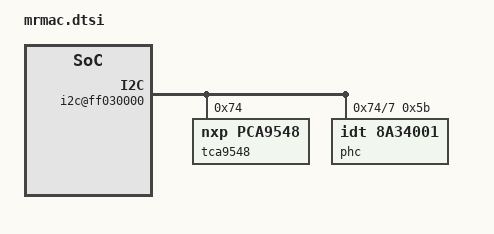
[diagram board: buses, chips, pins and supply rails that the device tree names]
/include/ "system-conf.dtsi"
/ {
	chosen {
		stdout-path = "serial0:115200";
	};

	amba_pl@0 {
		ptp_1588_timer_syncer@80000000 {
			compatible = "xlnx,timer-syncer-1588-2.0\0xlnx,timer-syncer-1588-3.0";
		};
		ptp_1588_timer_syncer@80010000 {
			compatible = "xlnx,timer-syncer-1588-2.0\0xlnx,timer-syncer-1588-3.0";
		};
		ptp_1588_timer_syncer@80020000 {
			compatible = "xlnx,timer-syncer-1588-2.0\0xlnx,timer-syncer-1588-3.0";
		};
		ptp_1588_timer_syncer@80030000 {
			compatible = "xlnx,timer-syncer-1588-2.0\0xlnx,timer-syncer-1588-3.0";
		};

		axi_mcdma@a4020000 {
			compatible = "xlnx,axi-mcdma-1.1";
			xlnx,include-dre;
			xlnx,addrwidth = <0x20>;
			dma-channel@a4020000 {
				compatible = "xlnx,axi-dma-mm2s-channel";
				dma-channels = <0x1>;
				interrupt-parent = <&gic>;
				interrupts = <0 84 4>;
				xlnx,datawidth = <0x40>;
				xlnx,device-id = <0x0>;
				xlnx,include-dre ;
			};
			dma-channel@a4020030 {
				compatible = "xlnx,axi-dma-s2mm-channel";
				dma-channels = <0x1>;
				interrupt-parent = <&gic>;
				interrupts = <0 85 4>;
				xlnx,datawidth = <0x40>;
				xlnx,device-id = <0x0>;
				xlnx,include-dre ;
			};
		};
		axi_mcdma@a4030000 {
			compatible = "xlnx,axi-mcdma-1.1";
			xlnx,include-dre;
			xlnx,addrwidth = <0x20>;
			dma-channel@a4030000 {
				compatible = "xlnx,axi-dma-mm2s-channel";
				dma-channels = <0x1>;
				interrupt-parent = <&gic>;
				interrupts = <0 86 4>;
				xlnx,datawidth = <0x40>;
				xlnx,device-id = <0x1>;
				xlnx,include-dre ;
			};
			dma-channel@a4030030 {
				compatible = "xlnx,axi-dma-s2mm-channel";
				dma-channels = <0x1>;
				interrupt-parent = <&gic>;
				interrupts = <0 87 4>;
				xlnx,datawidth = <0x40>;
				xlnx,device-id = <0x1>;
				xlnx,include-dre ;
			};
		};
		axi_mcdma@a4040000 {
			compatible = "xlnx,axi-mcdma-1.1";
			xlnx,include-dre;
			xlnx,addrwidth = <0x20>;
			dma-channel@a4040000 {
				compatible = "xlnx,axi-dma-mm2s-channel";
				dma-channels = <0x1>;
				interrupt-parent = <&gic>;
				interrupts = <0 88 4>;
				xlnx,datawidth = <0x40>;
				xlnx,device-id = <0x2>;
				xlnx,include-dre ;
			};
			dma-channel@a4040030 {
				compatible = "xlnx,axi-dma-s2mm-channel";
				dma-channels = <0x1>;
				interrupt-parent = <&gic>;
				interrupts = <0 89 4>;
				xlnx,datawidth = <0x40>;
				xlnx,device-id = <0x2>;
				xlnx,include-dre ;
			};
		};
		axi_mcdma@a4050000 {
			compatible = "xlnx,axi-mcdma-1.1";
			xlnx,include-dre;
			xlnx,addrwidth = <0x20>;
			dma-channel@a4050000 {
				compatible = "xlnx,axi-dma-mm2s-channel";
				dma-channels = <0x1>;
				interrupt-parent = <&gic>;
				interrupts = <0 90 4>;
				xlnx,datawidth = <0x40>;
				xlnx,device-id = <0x3>;
				xlnx,include-dre ;
			};
			dma-channel@a4050030 {
				compatible = "xlnx,axi-dma-s2mm-channel";
				dma-channels = <0x1>;
				interrupt-parent = <&gic>;
				interrupts = <0 91 4>;
				xlnx,datawidth = <0x40>;
				xlnx,device-id = <0x3>;
				xlnx,include-dre ;
			};
		};

		gt_pll: gt_pll@a40a0000 {
			reg = <0x0 0xa40a0000 0x0 0x10000>;
		};

		gt_ctrl_common: gt_ctrl_common@a4060000 {
			reg = <0x0 0xa4060000 0x0 0x40000>;
		};

		axi_mux: axi_mux@a40b0000 {
                        reg = <0x0 0xa40b0000 0x0 0x10000>;
                };


		mrmac@a4010000 {
			axistream-connected = <&DATAPATH_MCDMA_HIER_DATAPATH_MCDMA_0_axi_mcdma_0>;
			interrupt-names = "mm2s_ch1_introut", "s2mm_ch1_introut";
                        interrupt-parent = <&gic>;
                        interrupts = <0 84 4 0 85 4>;
			local-mac-address = [00 0a 35 00 00 00];
			xlnx,channel-ids = "1";
			xlnx,num-queues = /bits/ 16 <0x1>;
			xlnx,addrwidth = <0x20>;		
			xlnx,mrmac-rate = <25000>;
			xlnx,gtpll = <&gt_pll>;
			xlnx,gtctrl = <&gt_ctrl_common>;
			xlnx,axi_mux = <&axi_mux>;
			ptp-hardware-clock = <&MRMAC_1588_HELPER_HIER_SYS_TIMER_0_ptp_1588_timer_syncer_0>;
		};

		mrmac@a4011000 {
			axistream-connected = <&DATAPATH_MCDMA_HIER_DATAPATH_MCDMA_1_axi_mcdma_0>;
			interrupt-names = "mm2s_ch1_introut", "s2mm_ch1_introut";
                        interrupt-parent = <&gic>;
                        interrupts = <0 86 4 0 87 4>;
			local-mac-address = [00 0a 35 00 00 01];
			xlnx,channel-ids = "1";
			xlnx,num-queues = /bits/ 16 <0x1>;
			xlnx,addrwidth = <0x20>;			
			xlnx,mrmac-rate = <25000>;
			xlnx,gtpll = <&gt_pll>;
			xlnx,gtctrl = <&gt_ctrl_common>;
			xlnx,axi_mux = <&axi_mux>;
			ptp-hardware-clock = <&MRMAC_1588_HELPER_HIER_SYS_TIMER_1_ptp_1588_timer_syncer_0>;
		};

		mrmac@a4012000 {
			axistream-connected = <&DATAPATH_MCDMA_HIER_DATAPATH_MCDMA_2_axi_mcdma_0>;
			 interrupt-names = "mm2s_ch1_introut", "s2mm_ch1_introut";
                        interrupt-parent = <&gic>;
                        interrupts = <0 88 4 0 89 4>;
			local-mac-address = [00 0a 35 00 00 02];
			xlnx,channel-ids = "1";
			xlnx,num-queues = /bits/ 16 <0x1>;
			xlnx,addrwidth = <0x20>;
			xlnx,mrmac-rate = <25000>;
			xlnx,gtpll = <&gt_pll>;
			xlnx,gtctrl = <&gt_ctrl_common>;
			xlnx,axi_mux = <&axi_mux>;
			ptp-hardware-clock = <&MRMAC_1588_HELPER_HIER_SYS_TIMER_2_ptp_1588_timer_syncer_0>;
		};

		mrmac@a4013000 {
			axistream-connected = <&DATAPATH_MCDMA_HIER_DATAPATH_MCDMA_3_axi_mcdma_0>;
			interrupt-names = "mm2s_ch1_introut", "s2mm_ch1_introut";
                        interrupt-parent = <&gic>;
                        interrupts = <0 90 4 0 91 4>;
			local-mac-address = [00 0a 35 00 00 03];
			xlnx,channel-ids = "1";
			xlnx,num-queues = /bits/ 16 <0x1>;
			xlnx,addrwidth = <0x20>;
			xlnx,mrmac-rate = <25000>;
			xlnx,gtpll = <&gt_pll>;
			xlnx,gtctrl = <&gt_ctrl_common>;
			xlnx,axi_mux = <&axi_mux>;
			ptp-hardware-clock = <&MRMAC_1588_HELPER_HIER_SYS_TIMER_3_ptp_1588_timer_syncer_0>;
		};

		/delete-node/ gt_quad_base@a4000000;
		/delete-node/ gpio@a40a0000;
		/delete-node/ gpio@a4060000;
		/delete-node/ gpio@a4070000;
		/delete-node/ gpio@a4080000;
		/delete-node/ gpio@a4090000;
		/delete-node/ gpio@a40b0000;
	};
	amba: axi {
	      i2c@ff030000 {
		      tca9548@74 {
			      	compatible = "nxp,pca9548";
				#pinctrl-names = "default";
				#address-cells = <0x1>;
				#size-cells = <0x0>;
			      	reg = <0x74>;
				#i2c-mux-idle-disconnect;



			      i2c@7 {
					#address-cells = <0x1>;
					#size-cells = <0x0>;
				      	reg = <0x7>;



				      phc@5b {
					      compatible = "idt,8a34001";
					      reg = <0x5b>;
				      };
			      };
		      };
	      };
      };

};
